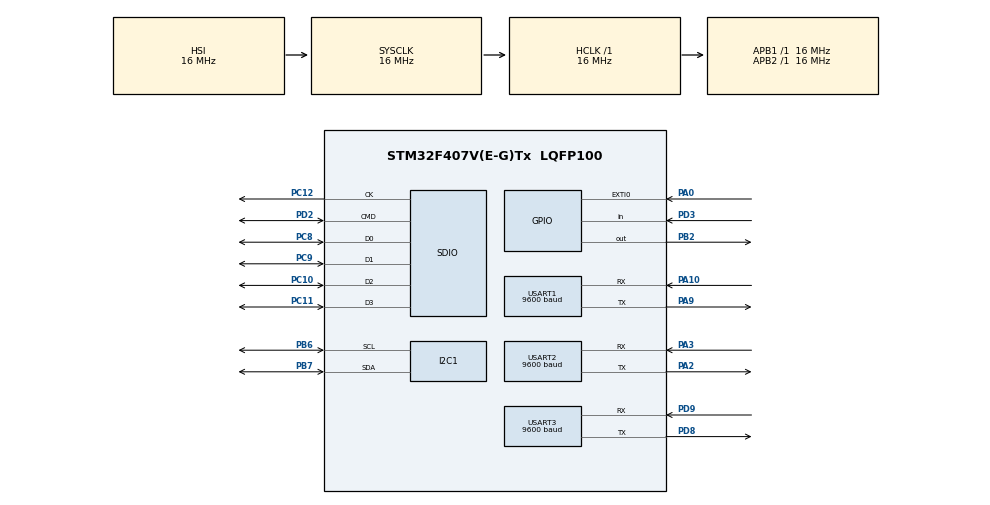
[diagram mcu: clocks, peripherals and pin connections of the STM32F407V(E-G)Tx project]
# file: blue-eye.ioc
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Dma.Request0=USART2_RX
Dma.Request1=USART3_RX
Dma.Request2=USART1_TX
Dma.Request3=SDIO_TX
Dma.Request4=SDIO_RX
Dma.SDIO_RX.4.Direction=DMA_PERIPH_TO_MEMORY
Dma.SDIO_RX.4.FIFOMode=DMA_FIFOMODE_ENABLE
Dma.SDIO_RX.4.FIFOThreshold=DMA_FIFO_THRESHOLD_FULL
Dma.SDIO_RX.4.Instance=DMA2_Stream6
Dma.SDIO_RX.4.MemBurst=DMA_MBURST_INC4
Dma.SDIO_RX.4.MemDataAlignment=DMA_MDATAALIGN_WORD
Dma.SDIO_RX.4.MemInc=DMA_MINC_ENABLE
Dma.SDIO_RX.4.Mode=DMA_PFCTRL
Dma.SDIO_RX.4.PeriphBurst=DMA_PBURST_INC4
Dma.SDIO_RX.4.PeriphDataAlignment=DMA_PDATAALIGN_WORD
Dma.SDIO_RX.4.PeriphInc=DMA_PINC_DISABLE
Dma.SDIO_RX.4.Priority=DMA_PRIORITY_VERY_HIGH
Dma.SDIO_TX.3.Direction=DMA_MEMORY_TO_PERIPH
Dma.SDIO_TX.3.FIFOMode=DMA_FIFOMODE_ENABLE
Dma.SDIO_TX.3.FIFOThreshold=DMA_FIFO_THRESHOLD_FULL
Dma.SDIO_TX.3.Instance=DMA2_Stream3
Dma.SDIO_TX.3.MemBurst=DMA_MBURST_INC4
Dma.SDIO_TX.3.MemDataAlignment=DMA_MDATAALIGN_WORD
Dma.SDIO_TX.3.MemInc=DMA_MINC_ENABLE
Dma.SDIO_TX.3.Mode=DMA_PFCTRL
Dma.SDIO_TX.3.PeriphBurst=DMA_PBURST_INC4
Dma.SDIO_TX.3.PeriphDataAlignment=DMA_PDATAALIGN_WORD
Dma.SDIO_TX.3.PeriphInc=DMA_PINC_DISABLE
Dma.SDIO_TX.3.Priority=DMA_PRIORITY_VERY_HIGH
Dma.USART1_TX.2.Direction=DMA_MEMORY_TO_PERIPH
Dma.USART1_TX.2.FIFOMode=DMA_FIFOMODE_DISABLE
Dma.USART1_TX.2.Instance=DMA2_Stream7
Dma.USART1_TX.2.MemDataAlignment=DMA_MDATAALIGN_BYTE
Dma.USART1_TX.2.MemInc=DMA_MINC_ENABLE
Dma.USART1_TX.2.Mode=DMA_NORMAL
Dma.USART1_TX.2.PeriphDataAlignment=DMA_PDATAALIGN_BYTE
Dma.USART1_TX.2.PeriphInc=DMA_PINC_DISABLE
Dma.USART1_TX.2.Priority=DMA_PRIORITY_LOW
Dma.USART2_RX.0.Direction=DMA_PERIPH_TO_MEMORY
Dma.USART2_RX.0.FIFOMode=DMA_FIFOMODE_DISABLE
Dma.USART2_RX.0.Instance=DMA1_Stream5
Dma.USART2_RX.0.MemDataAlignment=DMA_MDATAALIGN_BYTE
Dma.USART2_RX.0.MemInc=DMA_MINC_ENABLE
Dma.USART2_RX.0.Mode=DMA_NORMAL
Dma.USART2_RX.0.PeriphDataAlignment=DMA_PDATAALIGN_BYTE
Dma.USART2_RX.0.PeriphInc=DMA_PINC_DISABLE
Dma.USART2_RX.0.Priority=DMA_PRIORITY_LOW
Dma.USART3_RX.1.Direction=DMA_PERIPH_TO_MEMORY
Dma.USART3_RX.1.FIFOMode=DMA_FIFOMODE_DISABLE
Dma.USART3_RX.1.Instance=DMA1_Stream1
Dma.USART3_RX.1.MemDataAlignment=DMA_MDATAALIGN_BYTE
Dma.USART3_RX.1.MemInc=DMA_MINC_ENABLE
Dma.USART3_RX.1.Mode=DMA_NORMAL
Dma.USART3_RX.1.PeriphDataAlignment=DMA_PDATAALIGN_BYTE
Dma.USART3_RX.1.PeriphInc=DMA_PINC_DISABLE
Dma.USART3_RX.1.Priority=DMA_PRIORITY_HIGH
FATFS.BSP.number=1
FATFS0.BSP.STBoard=false
FATFS0.BSP.api=Unknown
FATFS0.BSP.instance=PD3
FATFS0.BSP.ip=GPIO
FATFS0.BSP.mode=Input
FATFS0.BSP.name=Detect_SDIO
FATFS0.BSP.solution=PD3
Mcu.Family=STM32F4
Mcu.Name=STM32F407V(E-G)Tx
Mcu.Package=LQFP100
NVIC.DMA1_Stream1_IRQn=true\:2\:0\:false\:false\:true\:false\:true\:true
NVIC.DMA1_Stream5_IRQn=true\:10\:0\:false\:false\:true\:false\:true\:true
NVIC.DMA2_Stream3_IRQn=true\:3\:0\:false\:false\:true\:false\:true\:true
NVIC.DMA2_Stream6_IRQn=true\:3\:0\:false\:false\:true\:false\:true\:true
NVIC.DMA2_Stream7_IRQn=true\:6\:0\:false\:false\:true\:false\:true\:true
NVIC.EXTI0_IRQn=true\:10\:0\:false\:false\:true\:true\:true\:true
NVIC.PriorityGroup=NVIC_PRIORITYGROUP_4
NVIC.SDIO_IRQn=true\:4\:0\:false\:false\:true\:true\:true\:true
NVIC.TIM6_DAC_IRQn=true\:8\:0\:false\:false\:true\:true\:true\:true
NVIC.USART1_IRQn=true\:6\:0\:false\:false\:true\:true\:true\:true
NVIC.USART2_IRQn=true\:10\:0\:false\:false\:true\:true\:true\:true
NVIC.USART3_IRQn=true\:2\:0\:false\:false\:true\:true\:true\:true
PA0-WKUP.GPIO_ModeDefaultEXTI=GPIO_MODE_IT_RISING_FALLING
PA0-WKUP.Signal=GPXTI0
PA10.Mode=Asynchronous
PA10.Signal=USART1_RX
PA13.Mode=Serial_Wire
PA13.Signal=SYS_JTMS-SWDIO
PA14.Mode=Serial_Wire
PA14.Signal=SYS_JTCK-SWCLK
PA2.Mode=Asynchronous
PA2.Signal=USART2_TX
PA3.Mode=Asynchronous
PA3.Signal=USART2_RX
PA9.Mode=Asynchronous
PA9.Signal=USART1_TX
PB2.Signal=GPIO_Output
PB6.Mode=I2C
PB6.Signal=I2C1_SCL
PB7.Mode=I2C
PB7.Signal=I2C1_SDA
PC10.Mode=SD_4_bits_Wide_bus
PC10.Signal=SDIO_D2
PC11.Mode=SD_4_bits_Wide_bus
PC11.Signal=SDIO_D3
PC12.Mode=SD_4_bits_Wide_bus
PC12.Signal=SDIO_CK
PC14-OSC32_IN.Mode=LSE-External-Oscillator
PC14-OSC32_IN.Signal=RCC_OSC32_IN
PC15-OSC32_OUT.Mode=LSE-External-Oscillator
PC15-OSC32_OUT.Signal=RCC_OSC32_OUT
PC8.Mode=SD_4_bits_Wide_bus
PC8.Signal=SDIO_D0
PC9.Mode=SD_4_bits_Wide_bus
PC9.Signal=SDIO_D1
PD2.Mode=SD_4_bits_Wide_bus
PD2.Signal=SDIO_CMD
PD3.Signal=GPIO_Input
PD8.Mode=Asynchronous
PD8.Signal=USART3_TX
PD9.Mode=Asynchronous
PD9.Signal=USART3_RX
PH0-OSC_IN.Mode=HSE-External-Oscillator
PH0-OSC_IN.Signal=RCC_OSC_IN
PH1-OSC_OUT.Mode=HSE-External-Oscillator
PH1-OSC_OUT.Signal=RCC_OSC_OUT
ProjectManager.HeapSize=0x200
ProjectManager.StackSize=0x400
ProjectManager.TargetToolchain=CMake
RCC.48MHZClocksFreq_Value=48000000
RCC.AHBFreq_Value=16000000
RCC.APB1Freq_Value=16000000
RCC.APB2Freq_Value=16000000
RCC.CortexFreq_Value=16000000
RCC.HSE_VALUE=8000000
RCC.HSI_VALUE=16000000
RCC.PLLM=4
RCC.PLLN=72
RCC.PLLQ=3
RCC.PLLSourceVirtual=RCC_PLLSOURCE_HSE
RCC.SYSCLKFreq_VALUE=16000000
RCC.VCOOutputFreq_Value=144000000
SDIO.ClockDiv=4
TIM6.Period=999
TIM6.Prescaler=15999
USART1.BaudRate=9600
USART1.VirtualMode=VM_ASYNC
USART2.BaudRate=9600
USART2.VirtualMode=VM_ASYNC
USART3.BaudRate=9600
USART3.VirtualMode=VM_ASYNC
VP_FATFS_VS_SDIO.Mode=SDIO
VP_TIM6_VS_ClockSourceINT.Mode=Enable_Timer
board=custom

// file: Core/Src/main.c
/* USER CODE BEGIN Header */
/**
  ******************************************************************************
  * @file           : main.c
  * @brief          : Main program body
  ******************************************************************************
  * @attention
  *
  * Copyright (c) 2026 STMicroelectronics.
  * All rights reserved.
  *
  * This software is licensed under terms that can be found in the LICENSE file
  * in the root directory of this software component.
  * If no LICENSE file comes with this software, it is provided AS-IS.
  *
  ******************************************************************************
  */
/* USER CODE END Header */
#include "main.h"
#include "dma.h"
#include "fatfs.h"
#include "i2c.h"
#include "sdio.h"
#include "tim.h"
#include "usart.h"
#include "gpio.h"

/* USER CODE BEGIN Includes */
#include "app_ui.h"
#include "key.h"
#include "modbus_bus.h"
#include "oled.h"
#include "periodic_trigger.h"
#include "pressure_sensor.h"
#include "sd_logger.h"
#include "sensor_record.h"
#include "telemetry_uart.h"
#include "xda_sensor.h"

/* USER CODE END Includes */

/* USER CODE BEGIN PV */
static uint8_t s_sensor_poll_prefer_pressure = 0U;
static SensorRecord_t s_periodic_record;

/* USER CODE END PV */

void SystemClock_Config(void);

int main(void)
{

  /* MCU Configuration--------------------------------------------------------*/

  /* Reset of all peripherals, Initializes the Flash interface and the Systick. */
  HAL_Init();

  /* Configure the system clock */
  SystemClock_Config();

  /* Initialize all configured peripherals */
  MX_GPIO_Init();
  MX_DMA_Init();
  MX_I2C1_Init();
  MX_USART2_UART_Init();
  MX_USART3_UART_Init();
  MX_SDIO_SD_Init();
  MX_FATFS_Init();
  MX_TIM6_Init();
  MX_USART1_UART_Init();
  /* USER CODE BEGIN 2 */
  if (OLED_Init(&hi2c1) != HAL_OK)
  {
    Error_Handler();
  }
  ModbusBus_Init(&huart3);
  XDA_Sensor_Init(0x02U);
  PressureSensor_Init(0x01U);
  PeriodicTrigger_Init();
  TelemetryUart_Init(&huart1);
  SDLogger_Init();
  if (HAL_TIM_Base_Start_IT(&htim6) != HAL_OK)
  {
    Error_Handler();
  }
  APP_UI_Init();
  APP_UI_UpdateXDASensorData(XDA_Sensor_GetData());
  APP_UI_UpdatePressureSensorData(PressureSensor_GetData());

  /* USER CODE END 2 */

  /* Infinite loop */
  while (1)
  {

    /* USER CODE BEGIN 3 */
    SensorTaskEvent_t pressure_sensor_event;
    SensorTaskEvent_t xda_sensor_event;
    PeriodicTriggerEvent_t periodic_event;
    uint8_t periodic_5s_event;
    uint8_t periodic_status_changed;
    uint8_t telemetry_status_changed;
    uint8_t sd_logger_status_changed;
    KeyEvent_t key_event;

    ModbusBus_Task();

    KEY_Task();
    key_event = KEY_GetEvent();
    if (key_event != KEY_EVENT_NONE)
    {
      APP_UI_HandleKeyEvent(key_event);
    }

    if (s_sensor_poll_prefer_pressure != 0U)
    {
      pressure_sensor_event = PressureSensor_Task();
      xda_sensor_event = XDA_Sensor_Task();
    }
    else
    {
      xda_sensor_event = XDA_Sensor_Task();
      pressure_sensor_event = PressureSensor_Task();
    }

    if (((pressure_sensor_event | xda_sensor_event) & SENSOR_TASK_EVENT_REQUEST_STARTED) != 0U)
    {
      s_sensor_poll_prefer_pressure ^= 1U;
    }

    if ((xda_sensor_event & SENSOR_TASK_EVENT_UI_MASK) != 0U)
    {
      APP_UI_UpdateXDASensorData(XDA_Sensor_GetData());
    }

    if ((pressure_sensor_event & SENSOR_TASK_EVENT_UI_MASK) != 0U)
    {
      APP_UI_UpdatePressureSensorData(PressureSensor_GetData());
    }

    periodic_status_changed = 0U;
    sd_logger_status_changed = 0U;
    periodic_5s_event = PeriodicTrigger_Consume5sEvent(&periodic_event);
    if (periodic_5s_event != 0U)
    {
      SensorRecord_Build(&s_periodic_record, periodic_event.missed_periods);
      TelemetryUart_RequestSend(&s_periodic_record);
      sd_logger_status_changed |= SDLogger_Submit(&s_periodic_record);
      periodic_status_changed = 1U;
    }

    telemetry_status_changed = TelemetryUart_Task();
    sd_logger_status_changed |= SDLogger_Task((ModbusBus_IsBusy() == 0U) ? 1U : 0U);

    if ((telemetry_status_changed != 0U) ||
        (periodic_status_changed != 0U) ||
        (sd_logger_status_changed != 0U))
    {
      APP_UI_RefreshServiceStatus();
    }

    if ((SDLogger_HasPendingIo() != 0U) && (ModbusBus_IsBusy() == 0U))
    {
      continue;
    }

    __WFI();
  }
  /* USER CODE END 3 */
}

void SystemClock_Config(void)
{
  RCC_OscInitTypeDef RCC_OscInitStruct = {0};
  RCC_ClkInitTypeDef RCC_ClkInitStruct = {0};

  /** Configure the main internal regulator output voltage
  */
  __HAL_RCC_PWR_CLK_ENABLE();
  __HAL_PWR_VOLTAGESCALING_CONFIG(PWR_REGULATOR_VOLTAGE_SCALE1);

  /** Initializes the RCC Oscillators according to the specified parameters
  * in the RCC_OscInitTypeDef structure.
  */
  RCC_OscInitStruct.OscillatorType = RCC_OSCILLATORTYPE_HSI|RCC_OSCILLATORTYPE_HSE;
  RCC_OscInitStruct.HSEState = RCC_HSE_ON;
  RCC_OscInitStruct.HSIState = RCC_HSI_ON;
  RCC_OscInitStruct.HSICalibrationValue = RCC_HSICALIBRATION_DEFAULT;
  RCC_OscInitStruct.PLL.PLLState = RCC_PLL_ON;
  RCC_OscInitStruct.PLL.PLLSource = RCC_PLLSOURCE_HSE;
  RCC_OscInitStruct.PLL.PLLM = 4;
  RCC_OscInitStruct.PLL.PLLN = 72;
  RCC_OscInitStruct.PLL.PLLP = RCC_PLLP_DIV2;
  RCC_OscInitStruct.PLL.PLLQ = 3;
  if (HAL_RCC_OscConfig(&RCC_OscInitStruct) != HAL_OK)
  {
    Error_Handler();
  }

  /** Initializes the CPU, AHB and APB buses clocks
  */
  RCC_ClkInitStruct.ClockType = RCC_CLOCKTYPE_HCLK|RCC_CLOCKTYPE_SYSCLK
                              |RCC_CLOCKTYPE_PCLK1|RCC_CLOCKTYPE_PCLK2;
  RCC_ClkInitStruct.SYSCLKSource = RCC_SYSCLKSOURCE_HSI;
  RCC_ClkInitStruct.AHBCLKDivider = RCC_SYSCLK_DIV1;
  RCC_ClkInitStruct.APB1CLKDivider = RCC_HCLK_DIV1;
  RCC_ClkInitStruct.APB2CLKDivider = RCC_HCLK_DIV1;

  if (HAL_RCC_ClockConfig(&RCC_ClkInitStruct, FLASH_LATENCY_0) != HAL_OK)
  {
    Error_Handler();
  }
}

/* USER CODE BEGIN 4 */
void HAL_GPIO_EXTI_Callback(uint16_t GPIO_Pin)
{
  KEY_NotifyExti(GPIO_Pin);
}

/* USER CODE END 4 */

void Error_Handler(void)
{
  __disable_irq();
  while (1)
  {
  }
}
